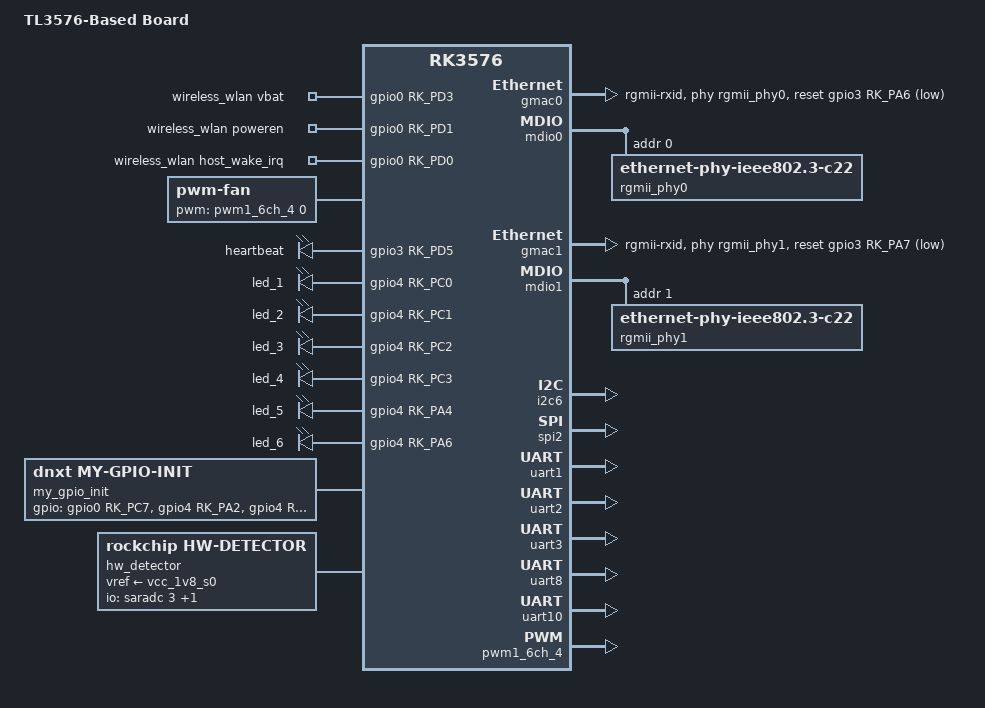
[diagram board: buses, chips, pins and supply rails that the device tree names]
// SPDX-License-Identifier: (GPL-2.0+ OR MIT)
/*
 * Copyright (c) 2024 Rockchip Electronics Co., Ltd.
 *
 */

/dts-v1/;

#include "rk3576.dtsi"
#include "rk3576-my-base.dtsi"

/ {
	model = "TL3576-Based Board";
	compatible = "tronlong,tl3576-evm", "rockchip,rk3576";

	wireless_bluetooth: wireless-bluetooth {
		compatible = "bluetooth-platdata";
		//BT,reset_gpio = <&xl8574t 7 GPIO_ACTIVE_HIGH>;
		status = "disabled";
	};

	wireless_wlan: wireless-wlan {
		compatible = "wlan-platdata";
		pinctrl-names = "default";
		pinctrl-0 = <&wifi_gpios>;
		WIFI,vbat_gpio = <&gpio0 RK_PD3 GPIO_ACTIVE_HIGH>;
		WIFI,poweren_gpio = <&gpio0 RK_PD1 GPIO_ACTIVE_HIGH>;
		WIFI,host_wake_irq = <&gpio0 RK_PD0 GPIO_ACTIVE_HIGH>;
		status = "okay";
	};

	fan: pwm-fan {
		compatible = "pwm-fan";
		#cooling-cells = <2>;
		pwms = <&pwm1_6ch_4 0 50000 0>;
		cooling-levels = <0 50 100 150 200 255>;
		rockchip,temp-trips = <25000 5>;
	};

	leds {
		status = "okay";
		compatible = "gpio-leds";
		pinctrl-names = "default";
		pinctrl-0 = <&sys_work_led &led_1 &led_2 &led_3 &led_4 &led_5 &led_6>;

		sys_work_led {
			label = "heartbeat";
			gpios = <&gpio3 RK_PD5 GPIO_ACTIVE_HIGH>;
			linux,default-trigger = "default-on";
			default-state = "on";
		};

		led_1 {
			label = "led_1";
			gpios = <&gpio4 RK_PC0 GPIO_ACTIVE_HIGH>;
			linux,default-trigger = "default-on";
			default-state = "off";
		};

		led_2 {
			label = "led_2";
			gpios = <&gpio4 RK_PC1 GPIO_ACTIVE_HIGH>;
			linux,default-trigger = "default-on";
			default-state = "off";
		};

		led_3 {
			label = "led_3";
			gpios = <&gpio4 RK_PC2 GPIO_ACTIVE_HIGH>;
			linux,default-trigger = "default-on";
			default-state = "off";
		};

		led_4 {
			label = "led_4";
			gpios = <&gpio4 RK_PC3 GPIO_ACTIVE_HIGH>;
			linux,default-trigger = "default-on";
			default-state = "off";
		};

		led_5 {
			label = "led_5";
			gpios = <&gpio4 RK_PA4 GPIO_ACTIVE_HIGH>;
			linux,default-trigger = "default-on";
			default-state = "off";
		};

		led_6 {
			label = "led_6";
			gpios = <&gpio4 RK_PA6 GPIO_ACTIVE_HIGH>;
			linux,default-trigger = "default-on";
			default-state = "off";
		};
	};

	my_gpio_init: my-gpio-init {
		compatible = "dnxt,my-gpio-init";
		status = "okay";

		init-delay-ms = <0>;

		gpios = <
			&gpio0 RK_PC7 GPIO_ACTIVE_HIGH    // 0 USB1_NRST
			&gpio4 RK_PA2 GPIO_ACTIVE_HIGH    // 1 EN_FS
			&gpio4 RK_PA5 GPIO_ACTIVE_HIGH    // 2 EN_SM
			&gpio0 RK_PC3 GPIO_ACTIVE_HIGH    // 3 EN_HBB
		>;

		gpio-names = "usb1_nrst", "fans_en", "sm_en", "hbb_en";

		//                  0 1 2 3 4 5 6 7 8 9 10
		gpio-init-states = <0 1 1 1>;

		// format: <gpio_index delay_ms>
		gpio-delays = <0 0>;

		// format: <gpio_index delay_ms target_state>
		gpio-state-delays = <0 10 1>;
	};

	hw_detector: hw-detector {
		compatible = "rockchip,hw-detector";
		status = "okay";

		io-channels = <&saradc 3>, <&saradc 2>;
		io-channel-names = "hw_version", "vbat";

		// 硬件版本检测参数
		hw-version-adc-channel = <0>; // 对应io-channels中的第一个(通道3)
		hw-version-thresholds = <
								/* min(mV) max(mV) version */
								0       200     0       // 版本1: 0-200mV (0.0V)
								1600    2000    1       // 版本2: 1.6-2.0V (1.8V)
								800     1000    2       // 版本3: 800-1000mV (0.9V)
								250     350     3       // 版本4: 250-350mV (0.3V)
								>;

		// 电压检测参数
		vbat-adc-channel = <1>; // 对应io-channels中的第二个(通道2)
		vbat-divider-ratio = <21000>; // 分压比 * 1000 (200+10)/10
		vbat-ref-voltage = <1800>; // 参考电压1800mV
		vbat-calibration = <
							/* adc电压(mV) 实际电压(mV) */
							1143    24000    // 1.143V对应24V
							1714    36000    // 1.714V对应36V
							>;

		sample-count = <5>;        // 每次采样次数
		sample-interval-ms = <10>; // 采样间隔
		debounce-count = <3>;      // 去抖动次数

        vref-supply = <&vcc_1v8_s0>;
	};
};

&gmac0 {
	phy-mode = "rgmii-rxid";
	clock_in_out = "output";

	snps,reset-gpio = <&gpio3 RK_PA6 GPIO_ACTIVE_LOW>;
	snps,reset-active-low;
	snps,reset-delays-us = <0 20000 100000>;

	pinctrl-names = "default";
	pinctrl-0 = <&eth0m1_miim
				&eth0m1_tx_bus2
				&eth0m1_rx_bus2
				&eth0m1_rgmii_clk
				&eth0m1_rgmii_bus>;

	tx_delay = <0x21>;
	/* rx_delay = <0x3f>; */

	phy-handle = <&rgmii_phy0>;
	status = "okay";
};

&mdio0 {
	rgmii_phy0: phy@1 {
		compatible = "ethernet-phy-ieee802.3-c22";
		reg = <0x0>;
		clocks = <&cru REFCLKO25M_GMAC0_OUT>;
		motorcomm,keep-pll-enabled;
		motorcomm,auto-sleep-disabled;
	};
};

&gmac1 {
	/* Use rgmii-rxid mode to disable rx delay inside Soc */
	phy-mode = "rgmii-rxid";
	clock_in_out = "output";

	snps,reset-gpio = <&gpio3 RK_PA7 GPIO_ACTIVE_LOW>;
	snps,reset-active-low;
	snps,reset-delays-us = <0 20000 100000>;

	pinctrl-names = "default";
	pinctrl-0 = <&eth1m0_miim
				&eth1m0_tx_bus2
				&eth1m0_rx_bus2
				&eth1m0_rgmii_clk
				&eth1m0_rgmii_bus>;

	tx_delay = <0x20>;
	/* rx_delay = <0x3f>; */

	phy-handle = <&rgmii_phy1>;
	status = "okay";
};

&mdio1 {
	rgmii_phy1: phy@1 {
		compatible = "ethernet-phy-ieee802.3-c22";
		reg = <0x1>;
		clocks = <&cru REFCLKO25M_GMAC1_OUT>;
		motorcomm,keep-pll-enabled;
		motorcomm,auto-sleep-disabled;
	};
};

&i2c6 {
	pinctrl-0 = <&i2c6m3_xfer>;
	status = "okay";
};

&spi2 {
	pinctrl-0 = <&spi1m2_csn1 &spi1m2_pins>;
	status = "okay";
};

/* reserved */
&uart1 {
	pinctrl-0 = <&uart1m0_xfer>;
	dma-names = "tx", "rx";
	status = "okay";
};

/* NPU-UART2 */
&uart2 {
	pinctrl-0 = <&uart2m1_xfer>;
	dma-names = "tx", "rx";
	status = "okay";
};

/* XCPUART0 */
&uart3 {
	pinctrl-0 = <&uart3m2_xfer &uart3m2_rtsn &uart3m2_ctsn>;
	dma-names = "tx", "rx";
	status = "okay";
};

/* GNSS */
&uart8 {
	pinctrl-0 = <&uart8m2_xfer>;
	dma-names = "tx", "rx";
	status = "okay";
};

/* LTE */
&uart10 {
	pinctrl-0 = <&uart10m1_xfer &uart10m1_rtsn &uart10m1_ctsn>;
	dma-names = "tx", "rx";
	status = "okay";
};

/* FAN-PWM */
&pwm1_6ch_4 {
	status = "okay";
	pinctrl-0 = <&pwm1m3_ch4>;
};

&pinctrl {
	leds {
		sys_work_led: sys-work-led {
			rockchip,pins = <3 RK_PB7 RK_FUNC_GPIO &pcfg_pull_none>;
		};
		led_1: led-1 {
			rockchip,pins = <4 RK_PC0 RK_FUNC_GPIO &pcfg_pull_none>;
		};
		led_2: led-2 {
			rockchip,pins = <4 RK_PC1 RK_FUNC_GPIO &pcfg_pull_none>;
		};
		led_3: led-3 {
			rockchip,pins = <4 RK_PC2 RK_FUNC_GPIO &pcfg_pull_none>;
		};
		led_4: led-4 {
			rockchip,pins = <4 RK_PC3 RK_FUNC_GPIO &pcfg_pull_none>;
		};
		led_5: led-5 {
			rockchip,pins = <4 RK_PA4 RK_FUNC_GPIO &pcfg_pull_none>;
		};
		led_6: led-6 {
			rockchip,pins = <4 RK_PA6 RK_FUNC_GPIO &pcfg_pull_none>;
		};
	};

	wireless-wlan {
		wifi_gpios: wifi-gpios {
			rockchip,pins = <0 RK_PD3 RK_FUNC_GPIO &pcfg_pull_none>,
							<0 RK_PD1 RK_FUNC_GPIO &pcfg_pull_none>,
							<0 RK_PD0 RK_FUNC_GPIO &pcfg_pull_up>;
		};
	};
};
